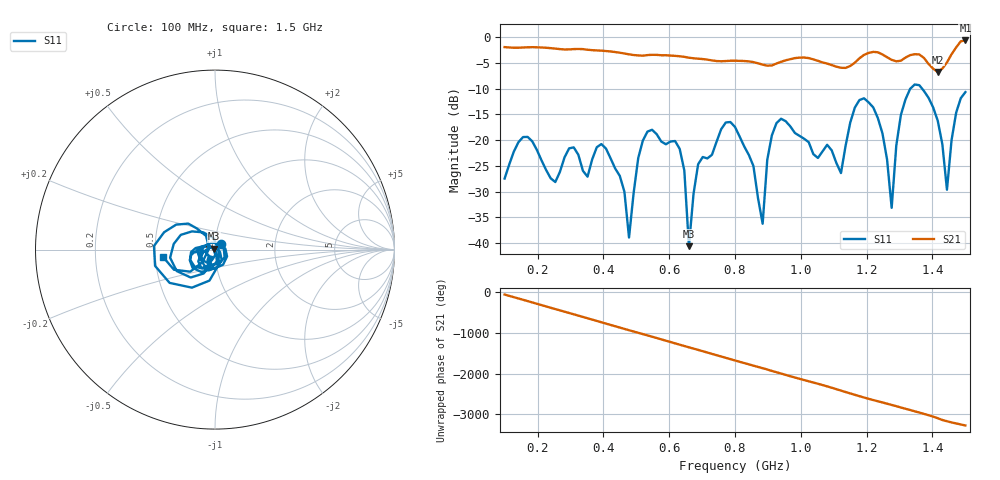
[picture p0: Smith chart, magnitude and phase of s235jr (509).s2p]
! NanoVNA-App
! Date: 2025-09-25 15:08:07
! Start: 100MHz Stop: 1,5GHz Points: 101
! S-Parameter data: F S11 S21 S12 S22
# Hz S RI R 50
!  Frequency  S11_Real  S11_Imag  S21_Real  S21_Imag  S12_Real  S12_Imag  S22_Real  S22_Imag
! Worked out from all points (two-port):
!   101 points, 100 MHz to 1.5 GHz, reference 50 ohm
!   highest |S21| = -0.67 dB at 1.5 GHz (marker M1); lowest = -6.8 dB at 1.416 GHz (marker M2)
!   |S21| within 3 dB of the highest: start of sweep to 619.9 MHz; 1.188 GHz to 1.255 GHz (67.53 MHz wide, 5.53 % of centre)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
!   lowest |S11| = -40.6 dB at 660 MHz (marker M3), VSWR 1.02, Z = 49.3 + j0.548 ohm
!   |S11| at or under -10 dB: start of sweep to 1.333 GHz; 1.368 GHz to end of sweep
!   S12 and S22 are empty: the file has one direction only
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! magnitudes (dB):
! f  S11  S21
! 100 MHz  -27.5  -2.0
! 156 MHz  -19.4  -2.0
! 338 MHz  -26.0  -2.4
! 408 MHz  -21.6  -2.7
! 478 MHz  -38.9  -3.4
! 520 MHz  -20.1  -3.6
! 576 MHz  -20.3  -3.5
! 632 MHz  -21.7  -3.7
! 660 MHz  -40.6  -4.0
! 688 MHz  -24.7  -4.2
! 800 MHz  -17.5  -4.6
! 884 MHz  -36.2  -5.4
! 926 MHz  -16.7  -5.2
! 1.038 GHz  -22.7  -4.3
! 1.122 GHz  -26.4  -6.0
! 1.192 GHz  -11.9  -3.5
! 1.248 GHz  -18.7  -3.4
! 1.276 GHz  -33.2  -4.4
! 1.332 GHz  -10.1  -3.5
! 1.416 GHz  -16.2  -6.8
! 1.444 GHz  -29.6  -4.9
! 1.5 GHz  -10.7  -0.7
